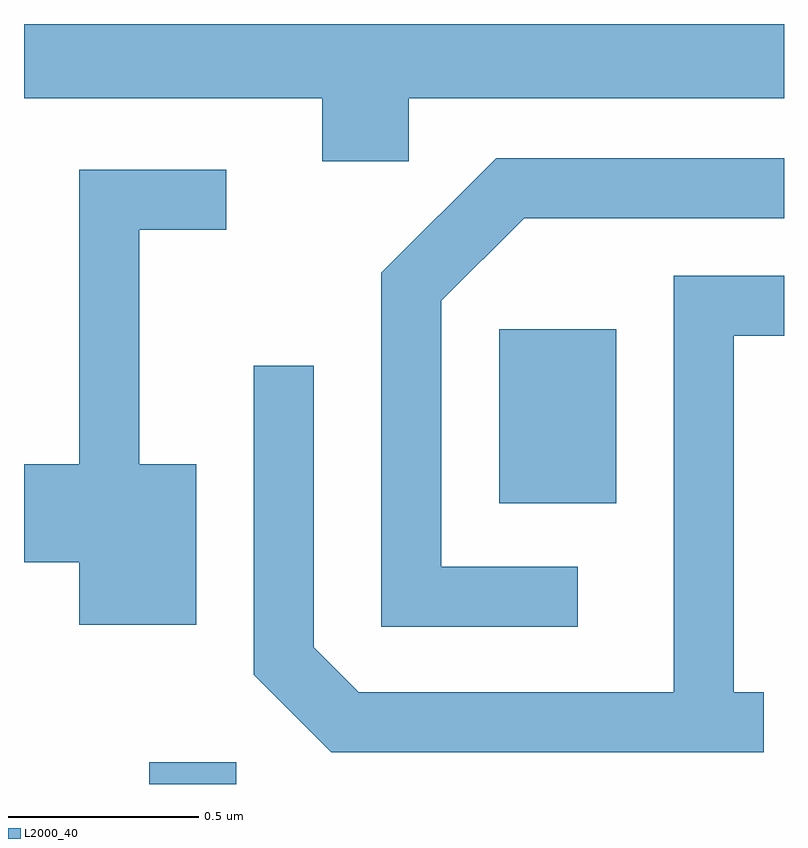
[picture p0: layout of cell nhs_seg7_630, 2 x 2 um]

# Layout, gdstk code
import gdstk
lib = gdstk.Library(unit=1e-6, precision=1e-09)
def R(c, l, rs):  # rectangles x0, y0, x1, y1
    for r in rs: c.add(gdstk.rectangle(r[:2], r[2:], *l))
def P(c, l, *ps):  # polygons
    for p in ps: c.add(gdstk.Polygon(p, *l))
L2000_40 = (2000, 40)

nhs_seg7_630 = lib.new_cell('nhs_seg7_630')
R(nhs_seg7_630, L2000_40, [(189.941,1750.252,190.169,1750.309), (190.861,1750.991,191.169,1751.449)])
P(nhs_seg7_630, L2000_40, [(190.624,1752.056),(191.611,1752.056),(191.611,1752.252),(189.611,1752.252),(189.611,1752.056),(190.396,1752.056),(190.396,1751.891),(190.624,1751.891)],
  [(191.068,1750.824),(190.709,1750.824),(190.709,1751.524),(190.927,1751.741),(191.611,1751.741),(191.611,1751.899),(190.854,1751.899),(190.551,1751.597),(190.551,1750.666),(191.068,1750.666)],
  [(190.064,1751.094),(189.914,1751.094),(189.914,1751.711),(190.143,1751.711),(190.143,1751.869),(189.756,1751.869),(189.756,1751.094),(189.611,1751.094),(189.611,1750.836),(189.756,1750.836),(189.756,1750.671),(190.064,1750.671)],
  [(191.558,1750.494),(191.479,1750.494),(191.479,1751.431),(191.611,1751.431),(191.611,1751.589),(191.321,1751.589),(191.321,1750.494),(190.492,1750.494),(190.374,1750.612),(190.374,1751.353),(190.216,1751.353),(190.216,1750.539),(190.419,1750.336),(191.558,1750.336)])

lib.write_gds('nhs_seg7_630.gds')
